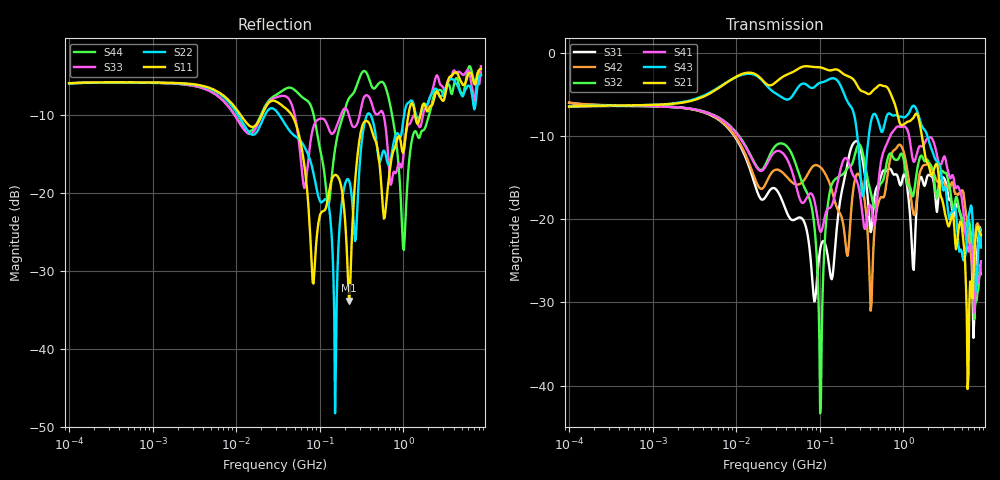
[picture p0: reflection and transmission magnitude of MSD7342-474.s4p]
# MHz S MA R 50
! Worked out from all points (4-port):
!   498 points, 100 kHz to 8.5 GHz, reference 50 ohm
!   strongest paths, dB at 100 kHz, 1.698 MHz, 29.49 MHz, 500.7 MHz, 8.5 GHz:
!     S21: -6.5, -6.1, -3.6, -4.0, -21.9
!     S43: -6.5, -6.1, -4.9, -8.2, -23.4
!     S41: -6.5, -6.5, -11.9, -16.0, -25.0
!     S32: -6.5, -6.5, -11.2, -16.6, -26.6
!     S42: -6.0, -6.5, -14.1, -18.1, -21.3
!     S31: -6.0, -6.5, -16.3, -15.8, -23.1
!   lowest |S11| = -33.8 dB at 225.1 MHz (marker M1), VSWR 1.04, Z = 48.1 - j0.474 ohm
!   |S11| at or under -10 dB: 11.32 MHz to 20.23 MHz (8.914 MHz wide, 56.5 % of centre); 46.29 MHz to 1.152 GHz (1.105 GHz wide, 185 % of centre); 1.387 GHz to 1.601 GHz (214.6 MHz wide, 14.4 % of centre)
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0.1  0.5067 8.2  0.4744 9.9  0.5005 -9.5  0.4725 -171.4
     0.4744 9.9  0.5052 8.3  0.4733 -171.5  0.5015 -9.6
     0.5005 -9.5  0.4733 -171.5  0.5053 8.4  0.4744 9.7
     0.4725 -171.4  0.5015 -9.6  0.4744 9.7  0.5038 8.3
40.59995  0.3433 -53.4  0.7383 1.3  0.1091 -177.4  0.2297 46.9
          0.7383 1.3  0.265 -44.5  0.2735 39.4  0.1791 -145.6
          0.1091 -177.4  0.2735 39.4  0.4124 -26.6  0.5232 -8.9
          0.2297 46.9  0.1791 -145.6  0.5232 -8.9  0.4712 -10.0
101.2184  0.07291 -14.9  0.8168 -20.5  0.06566 40.6  0.08455 17.2
          0.8168 -20.5  0.08821 -60.0  0.006833 -94.8  0.2058 39.4
          0.06566 40.6  0.006833 -94.8  0.2994 -6.2  0.6602 -21.1
          0.08455 17.2  0.2058 39.4  0.6602 -21.1  0.1895 -55.5
225.1135  0.02044 -166.1  0.7172 -50.5  0.2416 26.7  0.2151 -16.0
          0.7172 -50.5  0.1198 -0.6  0.2065 5.7  0.07495 20.9
          0.2416 26.7  0.2065 5.7  0.3108 -31.9  0.4895 -70.4
          0.2151 -16.0  0.07495 20.9  0.4895 -70.4  0.4066 -1.2
2652.059  0.4315 22.0  0.1821 -50.6  0.1411 12.0  0.2192 -22.4
          0.1821 -50.6  0.4321 14.1  0.1621 4.4  0.1663 -18.7
          0.1411 12.0  0.1621 4.4  0.5382 5.8  0.2169 -35.1
          0.2192 -22.4  0.1663 -18.7  0.2169 -35.1  0.4564 28.4
4187.455  0.5928 -173.7  0.07304 138.3  0.1148 150.9  0.1564 124.6
          0.07304 138.3  0.5152 176.6  0.1291 141.9  0.1418 124.0
          0.1148 150.9  0.1291 141.9  0.5995 -175.8  0.1178 141.5
          0.1564 124.6  0.1418 124.0  0.1178 141.5  0.5349 -169.1
8500  0.6268 -61.5  0.08043 50.4  0.07001 -28.7  0.05599 -7.8
      0.08043 50.4  0.5663 -68.8  0.0468 -29.6  0.08626 -57.7
      0.07001 -28.7  0.0468 -29.6  0.651 -41.9  0.06759 10.6
      0.05599 -7.8  0.08626 -57.7  0.06759 10.6  0.5781 -76.2
